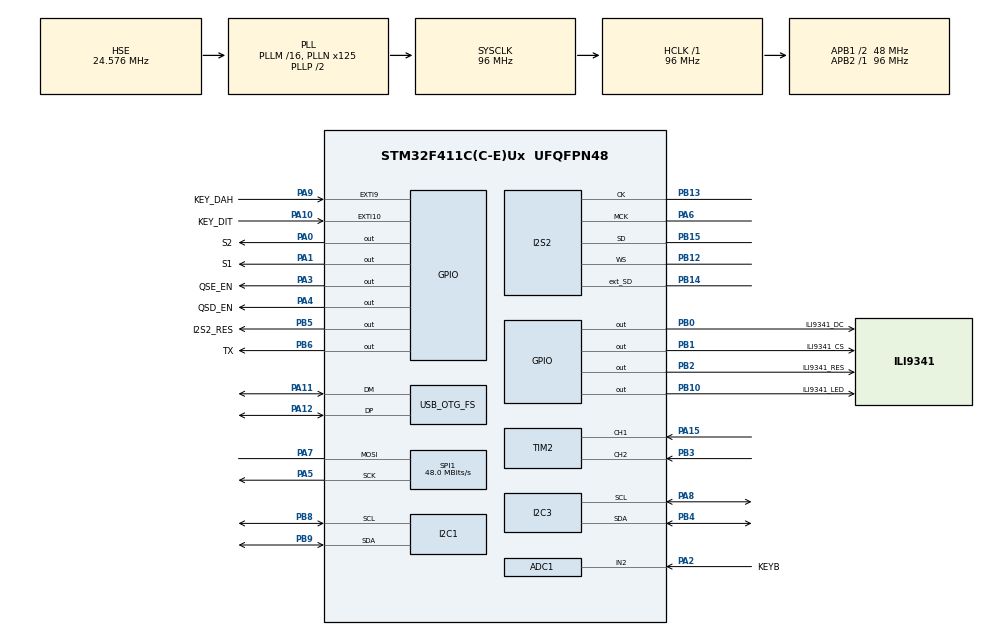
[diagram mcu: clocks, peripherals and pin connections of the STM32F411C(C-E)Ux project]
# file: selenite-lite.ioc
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ADC1.Channel-0\#ChannelRegularConversion=ADC_CHANNEL_2
ADC1.NbrOfConversionFlag=1
ADC1.Rank-0\#ChannelRegularConversion=1
ADC1.SamplingTime-0\#ChannelRegularConversion=ADC_SAMPLETIME_480CYCLES
ADC1.master=1
Dma.I2S2_EXT_RX.0.Direction=DMA_PERIPH_TO_MEMORY
Dma.I2S2_EXT_RX.0.FIFOMode=DMA_FIFOMODE_ENABLE
Dma.I2S2_EXT_RX.0.FIFOThreshold=DMA_FIFO_THRESHOLD_FULL
Dma.I2S2_EXT_RX.0.Instance=DMA1_Stream3
Dma.I2S2_EXT_RX.0.MemBurst=DMA_MBURST_INC8
Dma.I2S2_EXT_RX.0.MemDataAlignment=DMA_MDATAALIGN_HALFWORD
Dma.I2S2_EXT_RX.0.MemInc=DMA_MINC_ENABLE
Dma.I2S2_EXT_RX.0.Mode=DMA_CIRCULAR
Dma.I2S2_EXT_RX.0.PeriphBurst=DMA_PBURST_SINGLE
Dma.I2S2_EXT_RX.0.PeriphDataAlignment=DMA_PDATAALIGN_HALFWORD
Dma.I2S2_EXT_RX.0.PeriphInc=DMA_PINC_DISABLE
Dma.I2S2_EXT_RX.0.Priority=DMA_PRIORITY_LOW
Dma.Request0=I2S2_EXT_RX
Dma.Request1=SPI2_TX
Dma.SPI2_TX.1.Direction=DMA_MEMORY_TO_PERIPH
Dma.SPI2_TX.1.FIFOMode=DMA_FIFOMODE_ENABLE
Dma.SPI2_TX.1.FIFOThreshold=DMA_FIFO_THRESHOLD_FULL
Dma.SPI2_TX.1.Instance=DMA1_Stream4
Dma.SPI2_TX.1.MemBurst=DMA_MBURST_INC8
Dma.SPI2_TX.1.MemDataAlignment=DMA_MDATAALIGN_HALFWORD
Dma.SPI2_TX.1.MemInc=DMA_MINC_ENABLE
Dma.SPI2_TX.1.Mode=DMA_CIRCULAR
Dma.SPI2_TX.1.PeriphBurst=DMA_PBURST_SINGLE
Dma.SPI2_TX.1.PeriphDataAlignment=DMA_PDATAALIGN_HALFWORD
Dma.SPI2_TX.1.PeriphInc=DMA_PINC_DISABLE
Dma.SPI2_TX.1.Priority=DMA_PRIORITY_LOW
I2S2.AudioFreq=I2S_AUDIOFREQ_96K
I2S2.ErrorAudioFreq=0.0 %
I2S2.FullDuplexMode=I2S_FULLDUPLEXMODE_ENABLE
I2S2.Instance=SPI$Index
I2S2.RealAudioFreq=96.0 KHz
I2S2.VirtualMode=I2S_MODE_MASTER
Mcu.Family=STM32F4
Mcu.Name=STM32F411C(C-E)Ux
Mcu.Package=UFQFPN48
NVIC.ADC_IRQn=true\:0\:0\:false\:false\:true\:true\:true\:true
NVIC.DMA1_Stream3_IRQn=true\:0\:0\:false\:false\:true\:false\:true\:true
NVIC.DMA1_Stream4_IRQn=true\:0\:0\:false\:false\:true\:false\:true\:true
NVIC.EXTI15_10_IRQn=true\:0\:0\:false\:false\:true\:true\:true\:true
NVIC.EXTI9_5_IRQn=true\:0\:0\:false\:false\:true\:true\:true\:true
NVIC.OTG_FS_IRQn=true\:0\:0\:false\:false\:true\:false\:true\:true
NVIC.PriorityGroup=NVIC_PRIORITYGROUP_4
PA0-WKUP.GPIO_Label=S2
PA0-WKUP.GPIO_Speed=GPIO_SPEED_FREQ_HIGH
PA0-WKUP.Signal=GPIO_Output
PA1.GPIO_Label=S1
PA1.GPIO_Speed=GPIO_SPEED_FREQ_HIGH
PA1.Signal=GPIO_Output
PA10.GPIO_Label=KEY_DIT
PA10.GPIO_PuPd=GPIO_PULLUP
PA10.Signal=GPXTI10
PA11.Mode=Device_Only
PA11.Signal=USB_OTG_FS_DM
PA12.Mode=Device_Only
PA12.Signal=USB_OTG_FS_DP
PA13.Mode=Serial_Wire
PA13.Signal=SYS_JTMS-SWDIO
PA14.Mode=Serial_Wire
PA14.Signal=SYS_JTCK-SWCLK
PA15.GPIO_PuPd=GPIO_PULLUP
PA15.Signal=S_TIM2_CH1_ETR
PA2.GPIO_Label=KEYB
PA2.Signal=ADCx_IN2
PA3.GPIO_Label=QSE_EN
PA3.GPIO_Speed=GPIO_SPEED_FREQ_HIGH
PA3.PinState=GPIO_PIN_SET
PA3.Signal=GPIO_Output
PA4.GPIO_Label=QSD_EN
PA4.GPIO_Speed=GPIO_SPEED_FREQ_HIGH
PA4.PinState=GPIO_PIN_SET
PA4.Signal=GPIO_Output
PA5.Mode=Simplex_Bidirectional_Master
PA5.Signal=SPI1_SCK
PA6.Mode=Master_Clock_Activated
PA6.Signal=I2S2_MCK
PA7.Mode=Simplex_Bidirectional_Master
PA7.Signal=SPI1_MOSI
PA8.Mode=I2C
PA8.Signal=I2C3_SCL
PA9.GPIO_Label=KEY_DAH
PA9.GPIO_PuPd=GPIO_PULLUP
PA9.Signal=GPXTI9
PB0.GPIO_Label=ILI9341_DC
PB0.GPIO_Speed=GPIO_SPEED_FREQ_HIGH
PB0.PinState=GPIO_PIN_SET
PB0.Signal=GPIO_Output
PB1.GPIO_Label=ILI9341_CS
PB1.GPIO_Speed=GPIO_SPEED_FREQ_HIGH
PB1.PinState=GPIO_PIN_SET
PB1.Signal=GPIO_Output
PB10.GPIO_Label=ILI9341_LED
PB10.GPIO_Speed=GPIO_SPEED_FREQ_HIGH
PB10.Signal=GPIO_Output
PB12.Mode=Full_Duplex_Master
PB12.Signal=I2S2_WS
PB13.Mode=Full_Duplex_Master
PB13.Signal=I2S2_CK
PB14.Mode=Full_Duplex_Master
PB14.Signal=I2S2_ext_SD
PB15.Mode=Full_Duplex_Master
PB15.Signal=I2S2_SD
PB2.GPIO_Label=ILI9341_RES
PB2.GPIO_Speed=GPIO_SPEED_FREQ_HIGH
PB2.PinState=GPIO_PIN_SET
PB2.Signal=GPIO_Output
PB3.GPIO_PuPd=GPIO_PULLUP
PB3.Signal=S_TIM2_CH2
PB4.Mode=I2C
PB4.Signal=I2C3_SDA
PB5.GPIO_Label=I2S2_RES
PB5.GPIO_Speed=GPIO_SPEED_FREQ_HIGH
PB5.PinState=GPIO_PIN_SET
PB5.Signal=GPIO_Output
PB6.GPIO_Label=TX
PB6.GPIO_Speed=GPIO_SPEED_FREQ_HIGH
PB6.PinState=GPIO_PIN_SET
PB6.Signal=GPIO_Output
PB8.Mode=I2C
PB8.Signal=I2C1_SCL
PB9.Mode=I2C
PB9.Signal=I2C1_SDA
PC14-OSC32_IN.Mode=LSE-External-Oscillator
PC14-OSC32_IN.Signal=RCC_OSC32_IN
PC15-OSC32_OUT.Mode=LSE-External-Oscillator
PC15-OSC32_OUT.Signal=RCC_OSC32_OUT
PH0\ -\ OSC_IN.Mode=HSE-External-Clock-Source
PH0\ -\ OSC_IN.Signal=RCC_OSC_IN
PH1\ -\ OSC_OUT.Mode=HSE-External-Clock-Source
PH1\ -\ OSC_OUT.Signal=RCC_OSC_OUT
ProjectManager.HeapSize=0x200
ProjectManager.StackSize=0x400
ProjectManager.TargetToolchain=STM32CubeIDE
RCC.48MHZClocksFreq_Value=48000000
RCC.AHBFreq_Value=96000000
RCC.APB1CLKDivider=RCC_HCLK_DIV2
RCC.APB1Freq_Value=48000000
RCC.APB1TimFreq_Value=96000000
RCC.APB2Freq_Value=96000000
RCC.APB2TimFreq_Value=96000000
RCC.CortexFreq_Value=96000000
RCC.HCLKFreq_Value=96000000
RCC.HSE_VALUE=24576000
RCC.HSI_VALUE=16000000
RCC.PLLI2SN=128
RCC.PLLN=125
RCC.RCC_RTC_Clock_Source=RCC_RTCCLKSOURCE_LSE
RCC.RCC_RTC_Clock_SourceVirtual=RCC_RTCCLKSOURCE_LSE
RCC.SYSCLKFreq_VALUE=96000000
RCC.SYSCLKSource=RCC_SYSCLKSOURCE_PLLCLK
RCC.VCOOutputFreq_Value=192000000
SH.ADCx_IN2.0=ADC1_IN2,IN2
SH.S_TIM2_CH1_ETR.0=TIM2_CH1,Encoder_Interface
SH.S_TIM2_CH2.0=TIM2_CH2,Encoder_Interface
SPI1.CalculateBaudRate=48.0 MBits/s
SPI1.Direction=SPI_DIRECTION_1LINE
SPI1.Mode=SPI_MODE_MASTER
SPI1.VirtualType=VM_MASTER
TIM2.EncoderMode=TIM_ENCODERMODE_TI12
USB_DEVICE.APP_RX_DATA_SIZE=64
USB_DEVICE.APP_TX_DATA_SIZE=64
USB_DEVICE.CLASS_NAME_FS=CDC
USB_DEVICE.CONFIGURATION_STRING_CDC_FS=Selenite TRX Config
USB_DEVICE.INTERFACE_STRING_CDC_FS=Selenite TRX Interface
USB_DEVICE.PID_CDC_FS=22347
USB_DEVICE.PRODUCT_STRING_CDC_FS=Selenite TRX
USB_DEVICE.USBD_MAX_NUM_INTERFACES=5
USB_DEVICE.VirtualMode=Cdc
USB_DEVICE.VirtualModeFS=Cdc_FS
USB_OTG_FS.VirtualMode=Device_Only
VP_RTC_VS_RTC_Activate.Mode=RTC_Enabled
VP_RTC_VS_RTC_Calendar.Mode=RTC_Calendar
VP_USB_DEVICE_VS_USB_DEVICE_CDC_FS.Mode=CDC_FS
board=custom

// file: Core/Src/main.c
/* USER CODE BEGIN Header */
/**
  ******************************************************************************
  * @file           : main.c
  * @brief          : Main program body
  ******************************************************************************
  * @attention
  *
  * Copyright (c) 2023 STMicroelectronics.
  * All rights reserved.
  *
  * This software is licensed under terms that can be found in the LICENSE file
  * in the root directory of this software component.
  * If no LICENSE file comes with this software, it is provided AS-IS.
  *
  ******************************************************************************
  */
/* USER CODE END Header */

#include "main.h"
#include "usb_device.h"

/* USER CODE BEGIN Includes */

#include "rxtx_if.h"

/* USER CODE END Includes */

ADC_HandleTypeDef hadc1;

I2C_HandleTypeDef hi2c1;
I2C_HandleTypeDef hi2c3;

I2S_HandleTypeDef hi2s2;
DMA_HandleTypeDef hdma_i2s2_ext_rx;
DMA_HandleTypeDef hdma_spi2_tx;

RTC_HandleTypeDef hrtc;

SPI_HandleTypeDef hspi1;
DMA_HandleTypeDef hdma_spi1_tx;

TIM_HandleTypeDef htim2;

/* USER CODE BEGIN PV */

RTC_TimeTypeDef sTime;
RTC_DateTypeDef sDate;

/* USER CODE END PV */

void SystemClock_Config(void);
static void MX_GPIO_Init(void);
static void MX_DMA_Init(void);
static void MX_ADC1_Init(void);
static void MX_I2C1_Init(void);
static void MX_I2C3_Init(void);
static void MX_I2S2_Init(void);
static void MX_RTC_Init(void);
static void MX_TIM2_Init(void);
static void MX_SPI1_Init(void);

int main(void)
{

  /* MCU Configuration--------------------------------------------------------*/

  /* Reset of all peripherals, Initializes the Flash interface and the Systick. */
  HAL_Init();

  /* USER CODE BEGIN Init */

  __HAL_RCC_GPIOA_CLK_ENABLE ();
  __HAL_RCC_GPIOB_CLK_ENABLE ();

  MX_I2C3_Init ();
  HAL_Delay (500);

  /* Set HSE = 24.576 MHz from VFO */
  VFO_Init ();
  HAL_Delay (500);

  /* USER CODE END Init */

  /* Configure the system clock */
  SystemClock_Config();

  /* Initialize all configured peripherals */
  MX_GPIO_Init();
  MX_DMA_Init();
  MX_ADC1_Init();
  MX_I2C1_Init();
  MX_I2C3_Init();
  MX_I2S2_Init();
  MX_RTC_Init();
  MX_TIM2_Init();
  MX_SPI1_Init();
  MX_USB_DEVICE_Init();
  /* USER CODE BEGIN 2 */

  __HAL_SPI_ENABLE (&hspi1);
  RXTX_Init ();

  /* USER CODE END 2 */

  /* Infinite loop */
  /* USER CODE BEGIN WHILE */
  while (1)
  {
    RXTX_Handler ();

    /* USER CODE END WHILE */

  }
}

void SystemClock_Config(void)
{
  RCC_OscInitTypeDef RCC_OscInitStruct = {0};
  RCC_ClkInitTypeDef RCC_ClkInitStruct = {0};

  /** Configure the main internal regulator output voltage
  */
  __HAL_RCC_PWR_CLK_ENABLE();
  __HAL_PWR_VOLTAGESCALING_CONFIG(PWR_REGULATOR_VOLTAGE_SCALE1);
  /** Initializes the RCC Oscillators according to the specified parameters
  * in the RCC_OscInitTypeDef structure.
  */
  RCC_OscInitStruct.OscillatorType = RCC_OSCILLATORTYPE_HSE|RCC_OSCILLATORTYPE_LSE;
  RCC_OscInitStruct.HSEState = RCC_HSE_BYPASS;
  RCC_OscInitStruct.LSEState = RCC_LSE_ON;
  RCC_OscInitStruct.PLL.PLLState = RCC_PLL_ON;
  RCC_OscInitStruct.PLL.PLLSource = RCC_PLLSOURCE_HSE;
  RCC_OscInitStruct.PLL.PLLM = 16;
  RCC_OscInitStruct.PLL.PLLN = 125;
  RCC_OscInitStruct.PLL.PLLP = RCC_PLLP_DIV2;
  RCC_OscInitStruct.PLL.PLLQ = 4;
  if (HAL_RCC_OscConfig(&RCC_OscInitStruct) != HAL_OK)
  {
    Error_Handler();
  }
  /** Initializes the CPU, AHB and APB buses clocks
  */
  RCC_ClkInitStruct.ClockType = RCC_CLOCKTYPE_HCLK|RCC_CLOCKTYPE_SYSCLK
                              |RCC_CLOCKTYPE_PCLK1|RCC_CLOCKTYPE_PCLK2;
  RCC_ClkInitStruct.SYSCLKSource = RCC_SYSCLKSOURCE_PLLCLK;
  RCC_ClkInitStruct.AHBCLKDivider = RCC_SYSCLK_DIV1;
  RCC_ClkInitStruct.APB1CLKDivider = RCC_HCLK_DIV2;
  RCC_ClkInitStruct.APB2CLKDivider = RCC_HCLK_DIV1;

  if (HAL_RCC_ClockConfig(&RCC_ClkInitStruct, FLASH_LATENCY_3) != HAL_OK)
  {
    Error_Handler();
  }
}

static void MX_ADC1_Init(void)
{

  ADC_ChannelConfTypeDef sConfig = {0};

  /** Configure the global features of the ADC (Clock, Resolution, Data Alignment and number of conversion)
  */
  hadc1.Instance = ADC1;
  hadc1.Init.ClockPrescaler = ADC_CLOCK_SYNC_PCLK_DIV4;
  hadc1.Init.Resolution = ADC_RESOLUTION_12B;
  hadc1.Init.ScanConvMode = DISABLE;
  hadc1.Init.ContinuousConvMode = DISABLE;
  hadc1.Init.DiscontinuousConvMode = DISABLE;
  hadc1.Init.ExternalTrigConvEdge = ADC_EXTERNALTRIGCONVEDGE_NONE;
  hadc1.Init.ExternalTrigConv = ADC_SOFTWARE_START;
  hadc1.Init.DataAlign = ADC_DATAALIGN_RIGHT;
  hadc1.Init.NbrOfConversion = 1;
  hadc1.Init.DMAContinuousRequests = DISABLE;
  hadc1.Init.EOCSelection = ADC_EOC_SINGLE_CONV;
  if (HAL_ADC_Init(&hadc1) != HAL_OK)
  {
    Error_Handler();
  }
  /** Configure for the selected ADC regular channel its corresponding rank in the sequencer and its sample time.
  */
  sConfig.Channel = ADC_CHANNEL_2;
  sConfig.Rank = 1;
  sConfig.SamplingTime = ADC_SAMPLETIME_480CYCLES;
  if (HAL_ADC_ConfigChannel(&hadc1, &sConfig) != HAL_OK)
  {
    Error_Handler();
  }

}

static void MX_I2C1_Init(void)
{

  hi2c1.Instance = I2C1;
  hi2c1.Init.ClockSpeed = 100000;
  hi2c1.Init.DutyCycle = I2C_DUTYCYCLE_2;
  hi2c1.Init.OwnAddress1 = 0;
  hi2c1.Init.AddressingMode = I2C_ADDRESSINGMODE_7BIT;
  hi2c1.Init.DualAddressMode = I2C_DUALADDRESS_DISABLE;
  hi2c1.Init.OwnAddress2 = 0;
  hi2c1.Init.GeneralCallMode = I2C_GENERALCALL_DISABLE;
  hi2c1.Init.NoStretchMode = I2C_NOSTRETCH_DISABLE;
  if (HAL_I2C_Init(&hi2c1) != HAL_OK)
  {
    Error_Handler();
  }

}

static void MX_I2C3_Init(void)
{

  hi2c3.Instance = I2C3;
  hi2c3.Init.ClockSpeed = 100000;
  hi2c3.Init.DutyCycle = I2C_DUTYCYCLE_2;
  hi2c3.Init.OwnAddress1 = 0;
  hi2c3.Init.AddressingMode = I2C_ADDRESSINGMODE_7BIT;
  hi2c3.Init.DualAddressMode = I2C_DUALADDRESS_DISABLE;
  hi2c3.Init.OwnAddress2 = 0;
  hi2c3.Init.GeneralCallMode = I2C_GENERALCALL_DISABLE;
  hi2c3.Init.NoStretchMode = I2C_NOSTRETCH_DISABLE;
  if (HAL_I2C_Init(&hi2c3) != HAL_OK)
  {
    Error_Handler();
  }

}

static void MX_I2S2_Init(void)
{

  hi2s2.Instance = SPI2;
  hi2s2.Init.Mode = I2S_MODE_MASTER_TX;
  hi2s2.Init.Standard = I2S_STANDARD_PHILIPS;
  hi2s2.Init.DataFormat = I2S_DATAFORMAT_16B;
  hi2s2.Init.MCLKOutput = I2S_MCLKOUTPUT_ENABLE;
  hi2s2.Init.AudioFreq = I2S_AUDIOFREQ_96K;
  hi2s2.Init.CPOL = I2S_CPOL_LOW;
  hi2s2.Init.ClockSource = I2S_CLOCK_PLL;
  hi2s2.Init.FullDuplexMode = I2S_FULLDUPLEXMODE_ENABLE;
  if (HAL_I2S_Init(&hi2s2) != HAL_OK)
  {
    Error_Handler();
  }

}

static void MX_RTC_Init(void)
{

  RTC_TimeTypeDef sTime = {0};
  RTC_DateTypeDef sDate = {0};

  /** Initialize RTC Only
  */
  hrtc.Instance = RTC;
  hrtc.Init.HourFormat = RTC_HOURFORMAT_24;
  hrtc.Init.AsynchPrediv = 127;
  hrtc.Init.SynchPrediv = 255;
  hrtc.Init.OutPut = RTC_OUTPUT_DISABLE;
  hrtc.Init.OutPutPolarity = RTC_OUTPUT_POLARITY_HIGH;
  hrtc.Init.OutPutType = RTC_OUTPUT_TYPE_OPENDRAIN;
  if (HAL_RTC_Init(&hrtc) != HAL_OK)
  {
    Error_Handler();
  }

  /* USER CODE BEGIN Check_RTC_BKUP */
  if (HAL_RTCEx_BKUPRead (&hrtc, RTC_BKP_DR1) == 0U)
  {
  /* USER CODE END Check_RTC_BKUP */

  /** Initialize RTC and set the Time and Date
  */
  sTime.Hours = 0x0;
  sTime.Minutes = 0x0;
  sTime.Seconds = 0x0;
  sTime.DayLightSaving = RTC_DAYLIGHTSAVING_NONE;
  sTime.StoreOperation = RTC_STOREOPERATION_RESET;
  if (HAL_RTC_SetTime(&hrtc, &sTime, RTC_FORMAT_BCD) != HAL_OK)
  {
    Error_Handler();
  }
  sDate.WeekDay = RTC_WEEKDAY_MONDAY;
  sDate.Month = RTC_MONTH_JANUARY;
  sDate.Date = 0x1;
  sDate.Year = 0x0;

  if (HAL_RTC_SetDate(&hrtc, &sDate, RTC_FORMAT_BCD) != HAL_OK)
  {
    Error_Handler();
  }
  /* USER CODE BEGIN RTC_Init 2 */
    HAL_RTCEx_BKUPWrite (&hrtc, RTC_BKP_DR1, 0x80000000U);
  }
  /* USER CODE END RTC_Init 2 */

}

static void MX_SPI1_Init(void)
{

  /* SPI1 parameter configuration*/
  hspi1.Instance = SPI1;
  hspi1.Init.Mode = SPI_MODE_MASTER;
  hspi1.Init.Direction = SPI_DIRECTION_2LINES;
  hspi1.Init.DataSize = SPI_DATASIZE_8BIT;
  hspi1.Init.CLKPolarity = SPI_POLARITY_LOW;
  hspi1.Init.CLKPhase = SPI_PHASE_1EDGE;
  hspi1.Init.NSS = SPI_NSS_SOFT;
  hspi1.Init.BaudRatePrescaler = SPI_BAUDRATEPRESCALER_2;
  hspi1.Init.FirstBit = SPI_FIRSTBIT_MSB;
  hspi1.Init.TIMode = SPI_TIMODE_DISABLE;
  hspi1.Init.CRCCalculation = SPI_CRCCALCULATION_DISABLE;
  hspi1.Init.CRCPolynomial = 10;
  if (HAL_SPI_Init(&hspi1) != HAL_OK)
  {
    Error_Handler();
  }

}

static void MX_TIM2_Init(void)
{

  TIM_Encoder_InitTypeDef sConfig = {0};
  TIM_MasterConfigTypeDef sMasterConfig = {0};

  htim2.Instance = TIM2;
  htim2.Init.Prescaler = 0;
  htim2.Init.CounterMode = TIM_COUNTERMODE_UP;
  htim2.Init.Period = 4294967295;
  htim2.Init.ClockDivision = TIM_CLOCKDIVISION_DIV1;
  htim2.Init.AutoReloadPreload = TIM_AUTORELOAD_PRELOAD_DISABLE;
  sConfig.EncoderMode = TIM_ENCODERMODE_TI12;
  sConfig.IC1Polarity = TIM_ICPOLARITY_RISING;
  sConfig.IC1Selection = TIM_ICSELECTION_DIRECTTI;
  sConfig.IC1Prescaler = TIM_ICPSC_DIV1;
  sConfig.IC1Filter = 0;
  sConfig.IC2Polarity = TIM_ICPOLARITY_RISING;
  sConfig.IC2Selection = TIM_ICSELECTION_DIRECTTI;
  sConfig.IC2Prescaler = TIM_ICPSC_DIV1;
  sConfig.IC2Filter = 0;
  if (HAL_TIM_Encoder_Init(&htim2, &sConfig) != HAL_OK)
  {
    Error_Handler();
  }
  sMasterConfig.MasterOutputTrigger = TIM_TRGO_RESET;
  sMasterConfig.MasterSlaveMode = TIM_MASTERSLAVEMODE_DISABLE;
  if (HAL_TIMEx_MasterConfigSynchronization(&htim2, &sMasterConfig) != HAL_OK)
  {
    Error_Handler();
  }

}

static void MX_DMA_Init(void)
{

  /* DMA controller clock enable */
  __HAL_RCC_DMA1_CLK_ENABLE();
  __HAL_RCC_DMA2_CLK_ENABLE();

  /* DMA interrupt init */
  /* DMA1_Stream3_IRQn interrupt configuration */
  HAL_NVIC_SetPriority(DMA1_Stream3_IRQn, 0, 0);
  HAL_NVIC_EnableIRQ(DMA1_Stream3_IRQn);
  /* DMA1_Stream4_IRQn interrupt configuration */
  HAL_NVIC_SetPriority(DMA1_Stream4_IRQn, 0, 0);
  HAL_NVIC_EnableIRQ(DMA1_Stream4_IRQn);
  /* DMA2_Stream2_IRQn interrupt configuration */
  HAL_NVIC_SetPriority(DMA2_Stream2_IRQn, 0, 0);
  HAL_NVIC_EnableIRQ(DMA2_Stream2_IRQn);

}

static void MX_GPIO_Init(void)
{
  GPIO_InitTypeDef GPIO_InitStruct = {0};

  /* GPIO Ports Clock Enable */
  __HAL_RCC_GPIOC_CLK_ENABLE();
  __HAL_RCC_GPIOH_CLK_ENABLE();
  __HAL_RCC_GPIOA_CLK_ENABLE();
  __HAL_RCC_GPIOB_CLK_ENABLE();

  /*Configure GPIO pin Output Level */
  HAL_GPIO_WritePin(GPIOA, S2_Pin|S1_Pin, GPIO_PIN_RESET);

  /*Configure GPIO pin Output Level */
  HAL_GPIO_WritePin(GPIOA, QSE_EN_Pin|QSD_EN_Pin, GPIO_PIN_SET);

  /*Configure GPIO pin Output Level */
  HAL_GPIO_WritePin(GPIOB, ILI9341_DC_Pin|ILI9341_CS_Pin|ILI9341_RES_Pin|I2S2_RES_Pin
                          |TX_Pin, GPIO_PIN_SET);

  /*Configure GPIO pin Output Level */
  HAL_GPIO_WritePin(ILI9341_LED_GPIO_Port, ILI9341_LED_Pin, GPIO_PIN_RESET);

  /*Configure GPIO pins : S2_Pin S1_Pin QSE_EN_Pin QSD_EN_Pin */
  GPIO_InitStruct.Pin = S2_Pin|S1_Pin|QSE_EN_Pin|QSD_EN_Pin;
  GPIO_InitStruct.Mode = GPIO_MODE_OUTPUT_PP;
  GPIO_InitStruct.Pull = GPIO_NOPULL;
  GPIO_InitStruct.Speed = GPIO_SPEED_FREQ_HIGH;
  HAL_GPIO_Init(GPIOA, &GPIO_InitStruct);

  /*Configure GPIO pins : ILI9341_DC_Pin ILI9341_CS_Pin ILI9341_RES_Pin ILI9341_LED_Pin
                           I2S2_RES_Pin TX_Pin */
  GPIO_InitStruct.Pin = ILI9341_DC_Pin|ILI9341_CS_Pin|ILI9341_RES_Pin|ILI9341_LED_Pin
                          |I2S2_RES_Pin|TX_Pin;
  GPIO_InitStruct.Mode = GPIO_MODE_OUTPUT_PP;
  GPIO_InitStruct.Pull = GPIO_NOPULL;
  GPIO_InitStruct.Speed = GPIO_SPEED_FREQ_HIGH;
  HAL_GPIO_Init(GPIOB, &GPIO_InitStruct);

  /*Configure GPIO pins : KEY_DAH_Pin KEY_DIT_Pin */
  GPIO_InitStruct.Pin = KEY_DAH_Pin|KEY_DIT_Pin;
  GPIO_InitStruct.Mode = GPIO_MODE_IT_RISING;
  GPIO_InitStruct.Pull = GPIO_PULLUP;
  HAL_GPIO_Init(GPIOA, &GPIO_InitStruct);

  /* EXTI interrupt init*/
  HAL_NVIC_SetPriority(EXTI9_5_IRQn, 0, 0);
  HAL_NVIC_EnableIRQ(EXTI9_5_IRQn);

  HAL_NVIC_SetPriority(EXTI15_10_IRQn, 0, 0);
  HAL_NVIC_EnableIRQ(EXTI15_10_IRQn);

}

void Error_Handler(void)
{
  /* USER CODE BEGIN Error_Handler_Debug */
  /* User can add his own implementation to report the HAL error return state */

  return; /* ++++++ */

  __disable_irq();
  while (1)
  {
  }
  /* USER CODE END Error_Handler_Debug */
}
